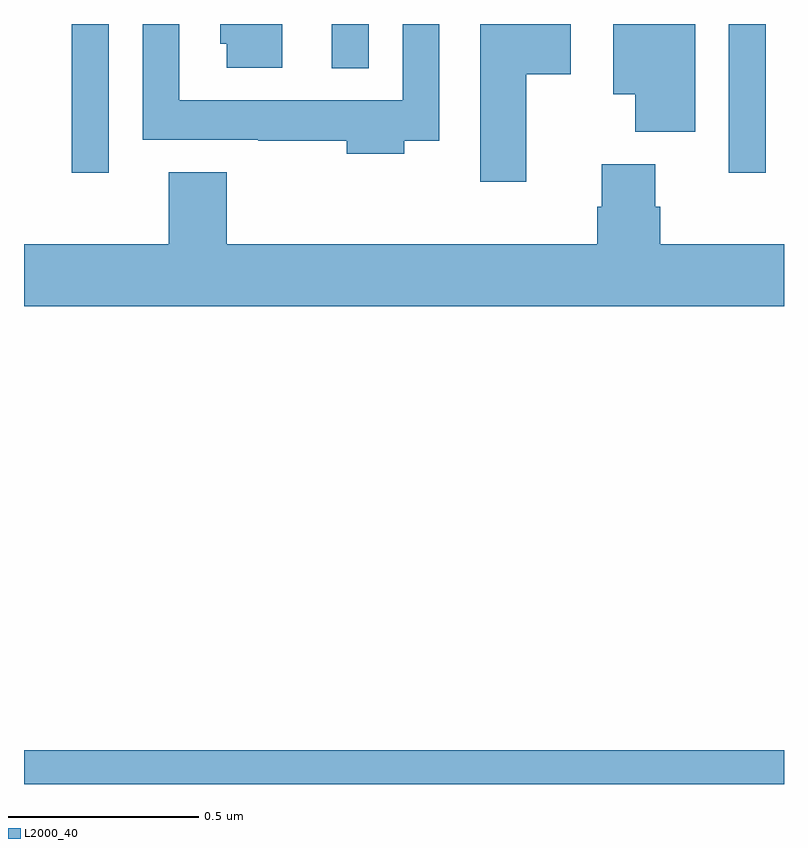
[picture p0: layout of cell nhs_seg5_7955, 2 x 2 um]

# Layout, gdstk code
import gdstk
lib = gdstk.Library(unit=1e-6, precision=1e-09)
def R(c, l, rs):  # rectangles x0, y0, x1, y1
    for r in rs: c.add(gdstk.rectangle(r[:2], r[2:], *l))
def P(c, l, *ps):  # polygons
    for p in ps: c.add(gdstk.Polygon(p, *l))
L2000_40 = (2000, 40)

nhs_seg5_7955 = lib.new_cell('nhs_seg5_7955')
R(nhs_seg5_7955, L2000_40, [(215,892.799,217,892.888), (215.126,894.408,215.223,894.799), (216.855,894.408,216.952,894.799), (215.81,894.683,215.907,894.799)])
P(nhs_seg5_7955, L2000_40, [(216.001,894.492),(216.093,894.492),(216.093,894.799),(215.997,894.799),(215.997,894.598),(215.409,894.598),(215.409,894.799),(215.313,894.799),(215.313,894.494),(215.617,894.494),(215.617,894.492),(215.849,894.492),(215.849,894.458),(216.001,894.458)],
  [(216.322,894.667),(216.439,894.667),(216.439,894.799),(216.2,894.799),(216.2,894.384),(216.322,894.384)],
  [(216.766,894.799),(216.551,894.799),(216.551,894.614),(216.608,894.614),(216.608,894.515),(216.766,894.515)],
  [(215.68,894.799),(215.516,894.799),(215.516,894.747),(215.534,894.747),(215.534,894.684),(215.68,894.684)],
  [(217,894.22),(216.674,894.22),(216.674,894.318),(216.661,894.318),(216.661,894.43),(216.521,894.43),(216.521,894.318),(216.509,894.318),(216.509,894.22),(215.534,894.22),(215.534,894.409),(215.381,894.409),(215.381,894.22),(215,894.22),(215,894.056),(217,894.056)])

lib.write_gds('nhs_seg5_7955.gds')
